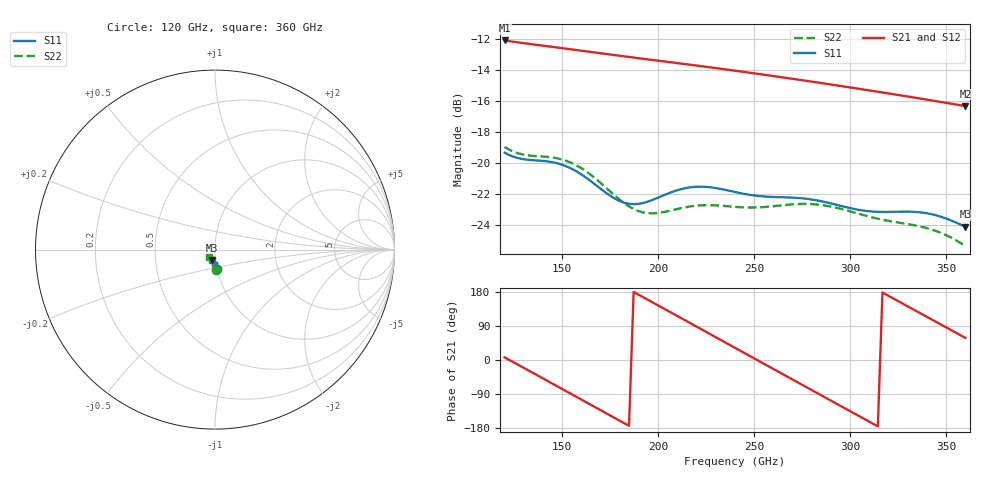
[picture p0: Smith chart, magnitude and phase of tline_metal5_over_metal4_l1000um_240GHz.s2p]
#  GHZ S DB R 50
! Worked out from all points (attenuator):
!   101 points, 120 GHz to 360 GHz, reference 50 ohm
!   highest |S21| = -12.10 dB at 120 GHz (marker M1); lowest = -16.3 dB at 360 GHz (marker M2)
!   lowest |S11| = -24.1 dB at 360 GHz (marker M3), VSWR 1.13, Z = 48.1 - j5.82 ohm
!   |S11| at or under -10 dB: start of sweep to end of sweep
!   |S22| runs from -25.3 to -19.0 dB; largest |S21 - S12| = 4e-13
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120  -19.32 -84.8  -12.10 6.9  -12.10 6.9  -18.95 -88.2
129.6  -19.73 -82.8  -12.26 -19.7  -12.26 -19.7  -19.44 -86.8
141.6  -19.87 -83.5  -12.46 -53.2  -12.46 -53.2  -19.58 -87.9
151.2  -20.15 -86.5  -12.61 -80.0  -12.61 -80.0  -19.80 -91.5
160.8  -20.79 -89.4  -12.77 -106.8  -12.77 -106.8  -20.38 -95.8
172.8  -21.90 -89.6  -12.97 -140.3  -12.97 -140.3  -21.57 -99.0
182.4  -22.54 -86.1  -13.12 -167.0  -13.12 -167.0  -22.57 -97.8
192  -22.56 -81.7  -13.27 166.2  -13.27 166.2  -23.16 -94.0
201.6  -22.13 -79.9  -13.42 139.4  -13.42 139.4  -23.17 -90.5
211.2  -21.69 -81.3  -13.57 112.6  -13.57 112.6  -22.91 -89.5
220.8  -21.51 -84.4  -13.73 85.8  -13.73 85.8  -22.72 -90.7
240  -21.85 -89.7  -14.04 32.1  -14.04 32.1  -22.80 -94.0
249.6  -22.07 -90.9  -14.21 5.3  -14.21 5.3  -22.85 -95.0
259.2  -22.17 -91.7  -14.37 -21.5  -14.37 -21.5  -22.77 -96.2
271.2  -22.22 -93.6  -14.59 -54.9  -14.59 -54.9  -22.63 -99.1
280.8  -22.35 -95.6  -14.76 -81.7  -14.76 -81.7  -22.63 -102.4
290.4  -22.59 -97.4  -14.94 -108.4  -14.94 -108.4  -22.80 -106.0
302.4  -22.95 -98.4  -15.17 -141.8  -15.17 -141.8  -23.18 -109.7
312  -23.11 -98.4  -15.35 -168.5  -15.35 -168.5  -23.50 -111.8
321.6  -23.13 -98.7  -15.54 164.8  -15.54 164.8  -23.74 -113.6
340.8  -23.23 -102.2  -15.92 111.5  -15.92 111.5  -24.20 -119.2
360  -24.09 -105.0  -16.32 58.4  -16.32 58.4  -25.33 -126.0
